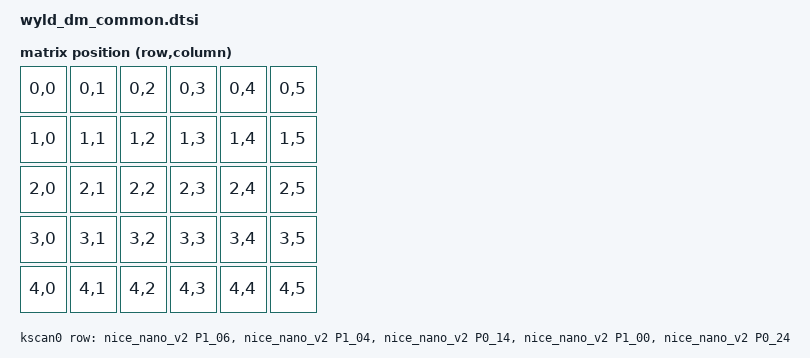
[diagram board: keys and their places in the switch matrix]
#include <dt-bindings/zmk/matrix_transform.h>

/ {
    chosen {
        zmk,kscan = &kscan0;
        zmk,matrix_transform = &default_transform;
    };

    default_transform: keymap_transform_0 {
        compatible = "zmk,matrix-transform";
        columns = <6>;
        rows = <5>;
        map = <
RC(0,0) RC(0,1) RC(0,2) RC(0,3) RC(0,4) RC(0,5)
RC(1,0) RC(1,1) RC(1,2) RC(1,3) RC(1,4) RC(1,5)
RC(2,0) RC(2,1) RC(2,2) RC(2,3) RC(2,4) RC(2,5)
RC(3,0) RC(3,1) RC(3,2) RC(3,3) RC(3,4) RC(3,5)
RC(4,0) RC(4,1) RC(4,2) RC(4,3) RC(4,4) RC(4,5)
        >;
    };

    kscan0: kscan_0 {
        compatible = "zmk,kscan-gpio-matrix";
        label = "KSCAN";
        diode-direction = "col2row";
        row-gpios
            = <&nice_nano_v2 P1_06 GPIO_ACTIVE_HIGH>
            , <&nice_nano_v2 P1_04 GPIO_ACTIVE_HIGH>
            , <&nice_nano_v2 P0_14 GPIO_ACTIVE_HIGH> // P0_11 replaced with P0_14
            , <&nice_nano_v2 P1_00 GPIO_ACTIVE_HIGH>
            , <&nice_nano_v2 P0_24 GPIO_ACTIVE_HIGH>
            ;
    };
    
    sensors: sensors {
        compatible = "zmk,keymap-sensors";
        triggers-per-rotation = <15>;
    };
};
